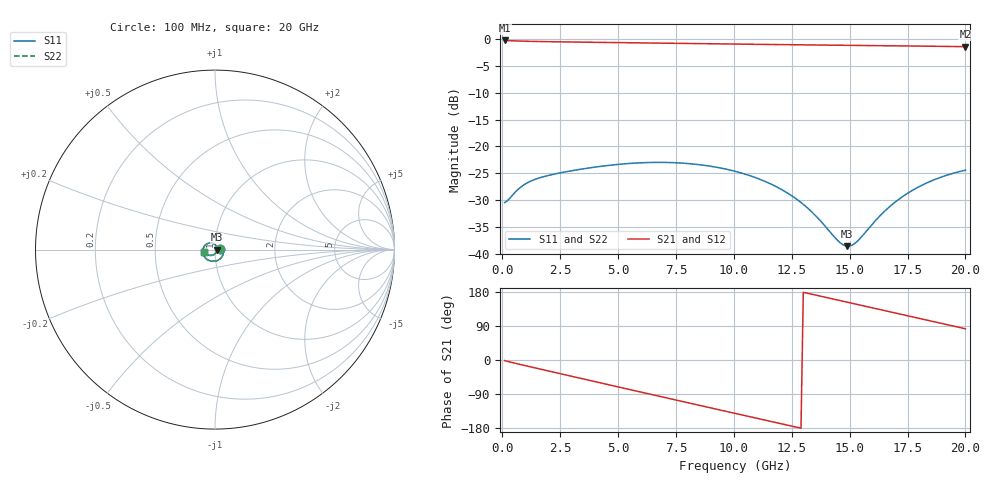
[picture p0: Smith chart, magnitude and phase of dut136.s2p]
! Touchstone file exported from HFSS 2026.1.0
!  File:  C:/ffzhzh/LocalFiles/Ansys_Project_Files/temp_train_TSV_RDL_136_1783050208_18316.aedt
!  Generated:  11:50:53 AM Jul  3, 2026
!  Design:  TSV_RDL
!  Project:  temp_train_TSV_RDL_136_1783050208_18316
! Variables:
!  h_bsmrdl = 5.84um
!  h_ox = 20um
!  h_rdl = 5um
!  h_sub = 70.71um
!  h_tmrdl = 2.17um
!  h_tsv = 70.71um
!  h_via = 3um
!  l_bsmrdl = 291.29um
!  l_sub = 4393.23um
!  l_tmrdl = 756.32um
!  m_sub = 200um
!  pitch = 23.16um
!  r_tsv = 10.26um
!  s_tmrdl = 10um
!  w_bsmrdl = 10.91um
!  w_sub = 500um
!  w_tmrdl = 20.45um
!  x_tsv_center1 = 766.545um
!  x_tsv_center2 = 1068.745um
!  x_tsv_center3 = 1845.515um
!  x_tsv_center4 = 2147.715um
!  x_tsv_center5 = 2924.485um
!  x_tsv_center6 = 3226.685um
# GHz S MA R 50.000000
! Terminal data exported
! Port[1] = TM_RDL1_1_T1
! Port[2] = TM_RDL5_1_T1
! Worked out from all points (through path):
!   200 points, 100 MHz to 20 GHz, reference 50 ohm
!   highest |S21| = -0.26 dB at 100 MHz (marker M1); lowest = -1.4 dB at 20 GHz (marker M2)
!   group delay of S21, straight-line fit = 38.4 ps
!   lowest |S11| = -38.6 dB at 14.9 GHz (marker M3), VSWR 1.02, Z = 51.2 - j0.0872 ohm
!   |S11| at or under -10 dB: start of sweep to end of sweep
!   |S22| runs from -38.4 to -23.0 dB; largest |S21 - S12| = 6.8e-14
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0.1  0.03 3.2  0.9701 -1.6  0.9701 -1.6  0.03 3.2
! Gamma 0 0 0 0
! Port Impedance 50 0 50 0
0.8  0.04191 -1.3  0.9568 -12.1  0.9568 -12.1  0.04213 -1.2
1.3  0.04832 -17.1  0.9506 -19.2  0.9506 -19.2  0.04846 -17.1
2.4  0.05623 -49.7  0.942 -34.7  0.942 -34.7  0.05624 -49.7
3.5  0.06197 -77.6  0.9351 -50.1  0.9351 -50.1  0.06191 -77.6
4.4  0.06595 -98.1  0.9297 -62.6  0.9297 -62.6  0.06586 -98.2
5.2  0.06873 -115.1  0.9249 -73.8  0.9249 -73.8  0.06862 -115.2
6  0.07054 -131.3  0.92 -84.9  0.92 -84.9  0.07041 -131.4
6.8  0.07114 -146.9  0.9152 -96.0  0.9152 -96.0  0.07101 -147.0
8.4  0.06813 -176.9  0.9058 -118.1  0.9058 -118.1  0.06799 -177.1
10.1  0.0584 151.8  0.8967 -141.5  0.8967 -141.5  0.0583 151.5
11  0.0507 134.7  0.8923 -153.9  0.8923 -153.9  0.05062 134.4
11.8  0.0426 118.7  0.8887 -164.9  0.8887 -164.9  0.04256 118.4
12.6  0.03361 101.0  0.8852 -175.8  0.8852 -175.8  0.03362 100.6
13.4  0.02421 79.3  0.8818 173.2  0.8818 173.2  0.02427 78.8
14.5  0.01324 27.5  0.877 158.0  0.877 158.0  0.0134 27.1
14.9  0.01181 -4.1  0.8753 152.5  0.8753 152.5  0.01197 -4.1
15.3  0.01292 -36.5  0.8735 147.0  0.8735 147.0  0.01304 -36.2
16.7  0.0272 -99.4  0.8668 127.7  0.8668 127.7  0.02715 -99.2
17.5  0.03664 -119.2  0.8627 116.7  0.8627 116.7  0.03654 -119.2
18.4  0.04648 -137.8  0.8578 104.3  0.8578 104.3  0.04634 -137.9
20  0.06015 -167.2  0.849 82.4  0.849 82.4  0.05996 -167.4
